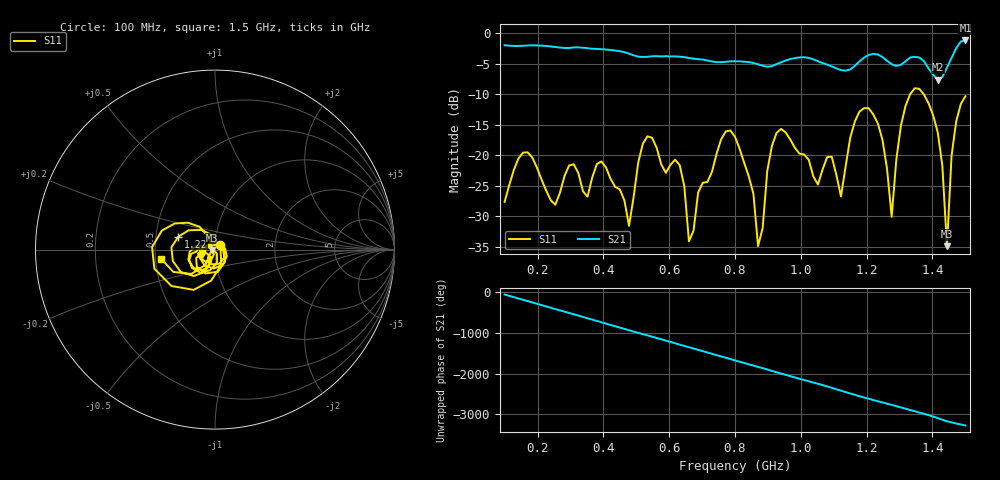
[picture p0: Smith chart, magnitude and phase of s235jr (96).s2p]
! NanoVNA-App
! Date: 2025-09-26 09:45:32
! Start: 100MHz Stop: 1,5GHz Points: 101
! S-Parameter data: F S11 S21 S12 S22
# Hz S RI R 50
!  Frequency  S11_Real  S11_Imag  S21_Real  S21_Imag  S12_Real  S12_Imag  S22_Real  S22_Imag
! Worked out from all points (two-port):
!   101 points, 100 MHz to 1.5 GHz, reference 50 ohm
!   highest |S21| = -1.17 dB at 1.5 GHz (marker M1); lowest = -7.6 dB at 1.416 GHz (marker M2)
!   |S21| within 3 dB of the highest: start of sweep to 676 MHz; 1.188 GHz to 1.254 GHz (66.12 MHz wide, 5.41 % of centre) (the widest 2 of 5)
!   lowest |S11| = -34.9 dB at 1.444 GHz (marker M3), VSWR 1.04, Z = 48.2 - j0.16 ohm
!   |S11| at or under -10 dB: start of sweep to 1.332 GHz; 1.373 GHz to end of sweep
!   S12 and S22 are empty: the file has one direction only
!   S11 on the Smith chart (normalised r, x): 100 MHz: 1.06, +0.06; 1.22 GHz: 0.66, +0.10; 1.5 GHz: 0.54, -0.06
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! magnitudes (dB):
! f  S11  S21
! 100 MHz  -27.6  -2.0
! 156 MHz  -19.6  -2.0
! 338 MHz  -25.9  -2.4
! 394 MHz  -21.0  -2.6
! 478 MHz  -31.6  -3.3
! 520 MHz  -18.1  -3.9
! 576 MHz  -21.5  -3.8
! 632 MHz  -21.6  -3.8
! 660 MHz  -34.1  -4.0
! 800 MHz  -17.0  -4.6
! 870 MHz  -34.9  -5.1
! 926 MHz  -16.4  -5.1
! 1.038 GHz  -23.5  -4.3
! 1.122 GHz  -26.8  -6.0
! 1.164 GHz  -14.5  -5.3
! 1.22 GHz  -13.3  -3.4
! 1.276 GHz  -30.1  -5.1
! 1.332 GHz  -10.0  -4.0
! 1.416 GHz  -16.2  -7.6
! 1.444 GHz  -34.9  -5.6
! 1.458 GHz  -20.1  -4.0
! 1.5 GHz  -10.3  -1.2
